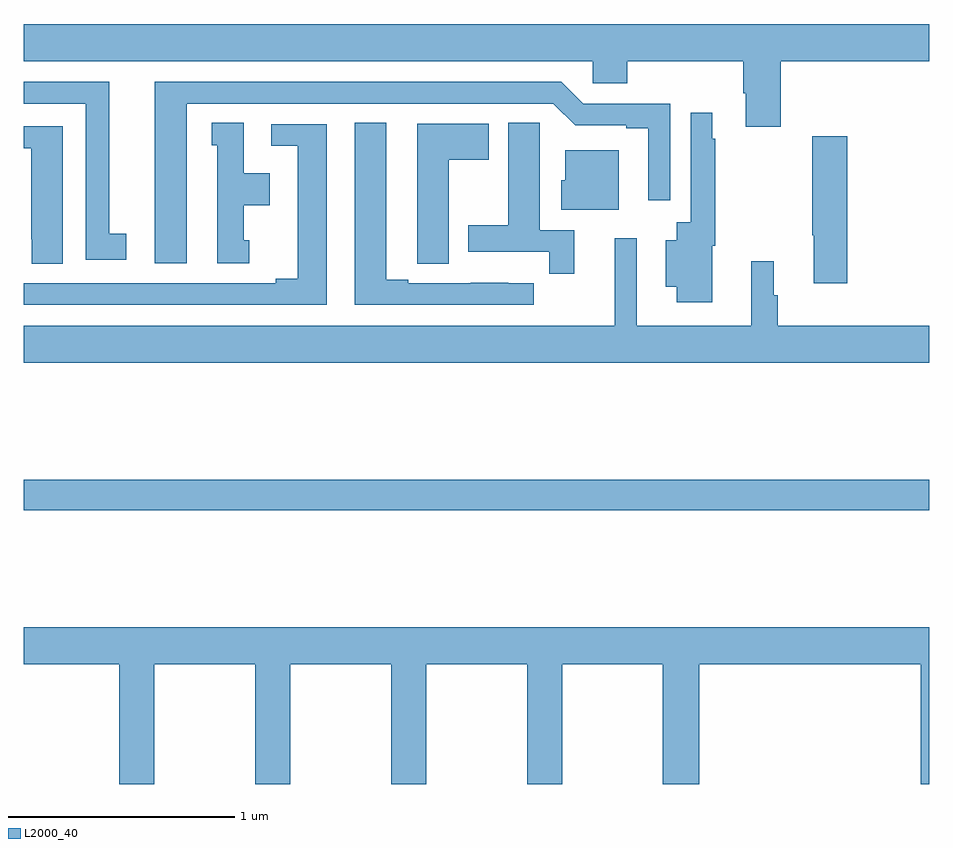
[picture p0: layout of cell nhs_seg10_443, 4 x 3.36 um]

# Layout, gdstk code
import gdstk
lib = gdstk.Library(unit=1e-6, precision=1e-09)
def R(c, l, rs):  # rectangles x0, y0, x1, y1
    for r in rs: c.add(gdstk.rectangle(r[:2], r[2:], *l))
def P(c, l, *ps):  # polygons
    for p in ps: c.add(gdstk.Polygon(p, *l))
L2000_40 = (2000, 40)

nhs_seg10_443 = lib.new_cell('nhs_seg10_443')
R(nhs_seg10_443, L2000_40, [(133,1255.708,137,1255.844)])
P(nhs_seg10_443, L2000_40, [(136.343,1257.692),(137,1257.692),(137,1257.856),(133,1257.856),(133,1257.692),(135.513,1257.692),(135.513,1257.594),(135.665,1257.594),(135.665,1257.692),(136.178,1257.692),(136.178,1257.55),(136.19,1257.55),(136.19,1257.402),(136.343,1257.402)],
  [(133.453,1256.93),(133.378,1256.93),(133.378,1257.6),(133,1257.6),(133,1257.504),(133.274,1257.504),(133.274,1256.814),(133.453,1256.814)],
  [(133.72,1257.504),(135.339,1257.504),(135.435,1257.408),(135.662,1257.408),(135.662,1257.396),(135.758,1257.396),(135.758,1257.078),(135.855,1257.078),(135.855,1257.504),(135.471,1257.504),(135.375,1257.6),(133.58,1257.6),(133.58,1256.799),(133.72,1256.799)],
  [(136.042,1256.876),(136.054,1256.876),(136.054,1257.35),(136.042,1257.35),(136.042,1257.463),(135.945,1257.463),(135.945,1256.98),(135.884,1256.98),(135.884,1256.902),(135.836,1256.902),(135.836,1256.696),(135.884,1256.696),(135.884,1256.628),(136.042,1256.628)],
  [(133.996,1256.901),(133.972,1256.901),(133.972,1257.056),(134.086,1257.056),(134.086,1257.196),(133.972,1257.196),(133.972,1257.419),(133.832,1257.419),(133.832,1257.321),(133.856,1257.321),(133.856,1256.799),(133.996,1256.799)],
  [(135.253,1256.712),(135.14,1256.712),(135.14,1256.713),(134.974,1256.713),(134.974,1256.712),(134.698,1256.712),(134.698,1256.727),(134.602,1256.727),(134.602,1257.419),(134.462,1257.419),(134.462,1256.616),(135.253,1256.616)],
  [(135.431,1256.946),(135.28,1256.946),(135.28,1257.308),(135.279,1257.308),(135.279,1257.419),(135.14,1257.419),(135.14,1256.967),(134.963,1256.967),(134.963,1256.85),(135.322,1256.85),(135.322,1256.754),(135.431,1256.754)],
  [(134.878,1257.256),(135.055,1257.256),(135.055,1257.415),(134.738,1257.415),(134.738,1256.905),(134.739,1256.905),(134.739,1256.797),(134.878,1256.797)],
  [(134.338,1257.414),(134.094,1257.414),(134.094,1257.318),(134.21,1257.318),(134.21,1256.732),(134.114,1256.732),(134.114,1256.712),(133,1256.712),(133,1256.616),(134.338,1256.616)],
  [(133.174,1257.405),(133,1257.405),(133,1257.308),(133.034,1257.308),(133.034,1256.905),(133.035,1256.905),(133.035,1256.797),(133.174,1256.797)],
  [(136.637,1257.361),(136.483,1257.361),(136.483,1256.924),(136.49,1256.924),(136.49,1256.712),(136.637,1256.712)],
  [(135.628,1257.298),(135.392,1257.298),(135.392,1257.165),(135.374,1257.165),(135.374,1257.035),(135.628,1257.035)],
  [(137,1256.524),(136.331,1256.524),(136.331,1256.658),(136.312,1256.658),(136.312,1256.809),(136.214,1256.809),(136.214,1256.524),(135.708,1256.524),(135.708,1256.911),(135.611,1256.911),(135.611,1256.524),(133,1256.524),(133,1256.36),(137,1256.36)],
  [(133.578,1255.028),(134.023,1255.028),(134.023,1254.5),(134.178,1254.5),(134.178,1255.028),(134.623,1255.028),(134.623,1254.5),(134.778,1254.5),(134.778,1255.028),(135.223,1255.028),(135.223,1254.5),(135.378,1254.5),(135.378,1255.028),(135.823,1255.028),(135.823,1254.5),(135.983,1254.5),(135.983,1255.028),(136.961,1255.028),(136.961,1254.5),(137,1254.5),(137,1255.192),(133,1255.192),(133,1255.028),(133.423,1255.028),(133.423,1254.5),(133.578,1254.5)])

lib.write_gds('nhs_seg10_443.gds')
